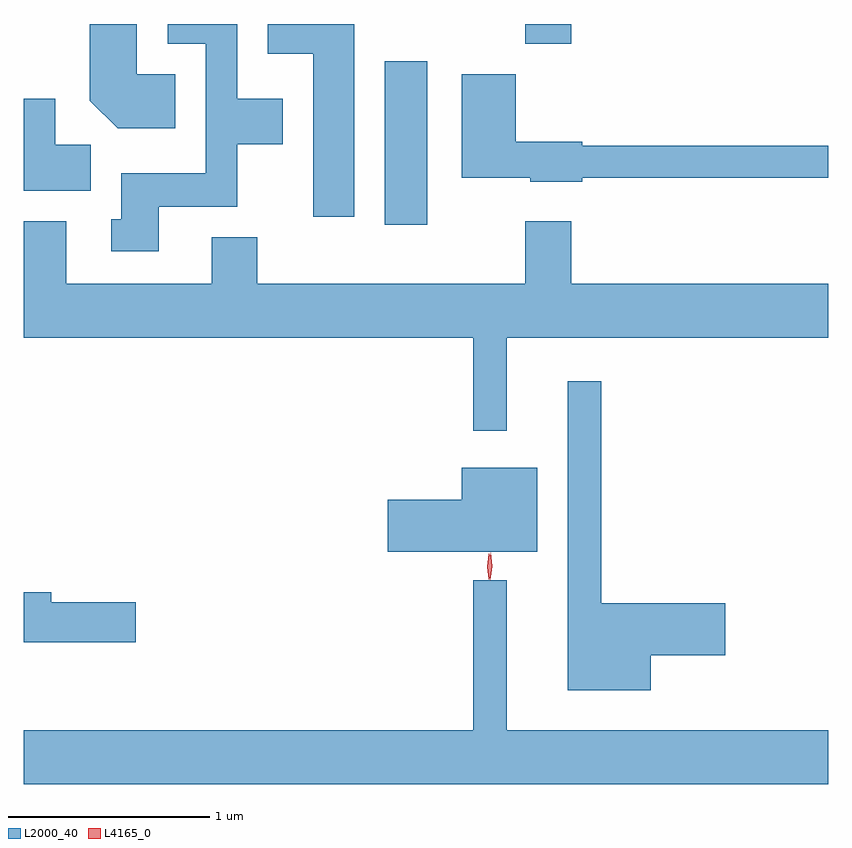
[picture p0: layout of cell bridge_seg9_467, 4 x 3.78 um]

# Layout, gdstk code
import gdstk
lib = gdstk.Library(unit=1e-6, precision=1e-09)
def R(c, l, rs):  # rectangles x0, y0, x1, y1
    for r in rs: c.add(gdstk.rectangle(r[:2], r[2:], *l))
def P(c, l, *ps):  # polygons
    for p in ps: c.add(gdstk.Polygon(p, *l))
L2000_40 = (2000, 40)
L4165_0 = (4165, 0)

bridge_seg9_467 = lib.new_cell('bridge_seg9_467')
R(bridge_seg9_467, L2000_40, [(651.511,1992.376,651.724,1993.189), (652.211,1993.276,652.439,1993.375)])
P(bridge_seg9_467, L2000_40, [(651.359,1993.375),(650.931,1993.375),(650.931,1993.226),(651.156,1993.226),(651.156,1992.416),(651.359,1992.416)],
  [(650.389,1992.466),(650.779,1992.466),(650.779,1992.776),(651.004,1992.776),(651.004,1993.004),(650.779,1993.004),(650.779,1993.375),(650.433,1993.375),(650.433,1993.276),(650.621,1993.276),(650.621,1992.634),(650.201,1992.634),(650.201,1992.404),(650.153,1992.404),(650.153,1992.246),(650.389,1992.246)],
  [(650.469,1993.124),(650.279,1993.124),(650.279,1993.375),(650.081,1993.375),(650.081,1993.374),(650.046,1993.374),(650.046,1992.994),(650.184,1992.856),(650.469,1992.856)],
  [(652.494,1992.611),(653.717,1992.611),(653.717,1992.769),(652.494,1992.769),(652.494,1992.789),(652.164,1992.789),(652.164,1993.124),(651.896,1993.124),(651.896,1992.611),(652.236,1992.611),(652.236,1992.591),(652.494,1992.591)],
  [(650.049,1992.774),(649.874,1992.774),(649.874,1993.004),(649.717,1993.004),(649.717,1992.546),(650.049,1992.546)],
  [(652.119,1991.816),(653.717,1991.816),(653.717,1992.084),(652.439,1992.084),(652.439,1992.394),(652.211,1992.394),(652.211,1992.084),(650.879,1992.084),(650.879,1992.314),(650.651,1992.314),(650.651,1992.084),(649.929,1992.084),(649.929,1992.394),(649.717,1992.394),(649.717,1991.816),(651.951,1991.816),(651.951,1991.353),(652.119,1991.353)],
  [(652.834,1990.236),(653.204,1990.236),(653.204,1990.494),(652.589,1990.494),(652.589,1991.598),(652.421,1991.598),(652.421,1990.061),(652.834,1990.061)],
  [(652.269,1991.169),(651.896,1991.169),(651.896,1991.009),(651.526,1991.009),(651.526,1990.751),(652.269,1990.751)],
  [(653.717,1989.864),(652.119,1989.864),(652.119,1990.608),(651.951,1990.608),(651.951,1989.864),(649.717,1989.864),(649.717,1989.596),(653.717,1989.596)],
  [(650.274,1990.499),(649.854,1990.499),(649.854,1990.549),(649.717,1990.549),(649.717,1990.301),(650.274,1990.301)])
P(bridge_seg9_467, L4165_0, [(652.03,1990.613),(652.021,1990.676),(652.03,1990.74),(652.031,1990.74),(652.032,1990.74),(652.041,1990.676),(652.032,1990.613),(652.031,1990.613)],
  [(652.036,1990.61),(652.036,1990.61),(652.028,1990.678),(652.038,1990.745),(652.038,1990.746),(652.039,1990.745),(652.047,1990.678),(652.037,1990.61)])

lib.write_gds('bridge_seg9_467.gds')
